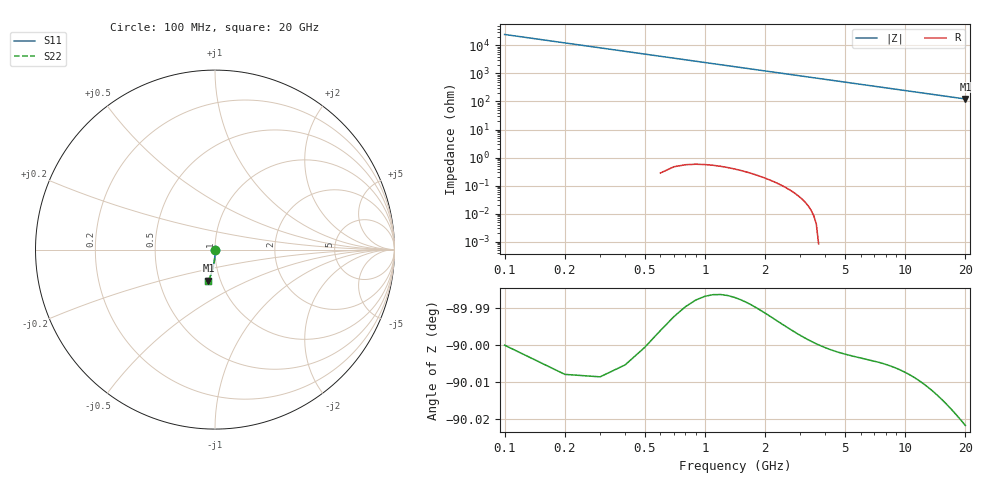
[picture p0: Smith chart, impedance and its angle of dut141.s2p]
! Touchstone file exported from HFSS 2026.1.0
!  File:  C:/ffzhzh/LocalFiles/Ansys_Project_Files/temp_train_TSV_141_1782990392_40604.aedt
!  Generated:  07:07:44 PM Jul  2, 2026
!  Design:  TSV
!  Project:  temp_train_TSV_141_1782990392_40604
! Variables:
!  h_bsmrdl = 2um
!  h_ox = 20um
!  h_rdl = 5um
!  h_sub = 84.85um
!  h_tmrdl = 5um
!  h_tsv = 84.85um
!  h_via = 3um
!  l_bsmrdl = 300um
!  l_sub = 416.46um
!  l_tmrdl = 200um
!  m_sub = 200um
!  pitch = 17.93um
!  r_tsv = 8.23um
!  s_tmrdl = 10um
!  w_bsmrdl = 18um
!  w_sub = 500um
!  w_tmrdl = 12um
!  x_tsv_center1 = 206um
!  x_tsv_center2 = 524um
!  x_tsv_center3 = 736um
!  x_tsv_center4 = 1054um
!  x_tsv_center5 = 1266um
!  x_tsv_center6 = 1584um
# GHz S MA R 50.000000
! Terminal data exported
! Port[1] = TSV1_1_T1
! Port[2] = TSV1_1_T2
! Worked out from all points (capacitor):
!   200 points, 100 MHz to 20 GHz, reference 50 ohm
!   read as one part in shunt: C = 65 fF near 200 MHz
!   lowest |Z| = 123 ohm at 20 GHz (marker M1)
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0.1  0.000829 -75.3  0.9998 -0.1  0.9998 -0.1  0.000829 -75.3
! Gamma 0 0 0 0
! Port Impedance 50 0 50 0
0.2  0.001634 -81.4  0.9997 -0.1  0.9997 -0.1  0.001634 -81.4
0.3  0.002466 -83.2  0.9997 -0.2  0.9997 -0.2  0.002466 -83.2
0.4  0.003319 -84.1  0.9996 -0.3  0.9996 -0.3  0.003319 -84.1
0.5  0.004187 -84.7  0.9996 -0.3  0.9996 -0.3  0.004187 -84.7
0.7  0.005951 -85.6  0.9995 -0.5  0.9995 -0.5  0.005951 -85.6
0.8  0.006841 -86.0  0.9994 -0.5  0.9994 -0.5  0.006841 -86.0
1  0.008625 -86.7  0.9994 -0.7  0.9994 -0.7  0.008625 -86.7
1.2  0.01041 -87.3  0.9993 -0.8  0.9993 -0.8  0.01041 -87.3
1.4  0.0122 -87.7  0.9992 -0.9  0.9992 -0.9  0.0122 -87.7
1.7  0.01487 -88.3  0.9991 -1.1  0.9991 -1.1  0.01487 -88.3
2  0.01755 -88.8  0.9991 -1.3  0.9991 -1.3  0.01755 -88.8
2.7  0.02379 -89.6  0.9988 -1.8  0.9988 -1.8  0.02379 -89.6
3.5  0.03095 -90.4  0.9985 -2.3  0.9985 -2.3  0.03095 -90.4
4.2  0.03722 -91.0  0.9982 -2.8  0.9982 -2.8  0.03722 -91.0
5  0.0444 -91.6  0.9977 -3.3  0.9977 -3.3  0.0444 -91.6
6.8  0.06056 -93.0  0.9966 -4.5  0.9966 -4.5  0.06056 -93.0
8.3  0.07403 -94.1  0.9955 -5.4  0.9955 -5.4  0.07403 -94.1
10.1  0.09013 -95.4  0.994 -6.6  0.994 -6.6  0.09013 -95.4
13.4  0.1195 -97.7  0.9906 -8.7  0.9906 -8.7  0.1195 -97.7
16.7  0.1484 -99.8  0.9864 -10.8  0.9864 -10.8  0.1484 -99.8
20  0.177 -102.0  0.9813 -12.9  0.9813 -12.9  0.177 -102.0
